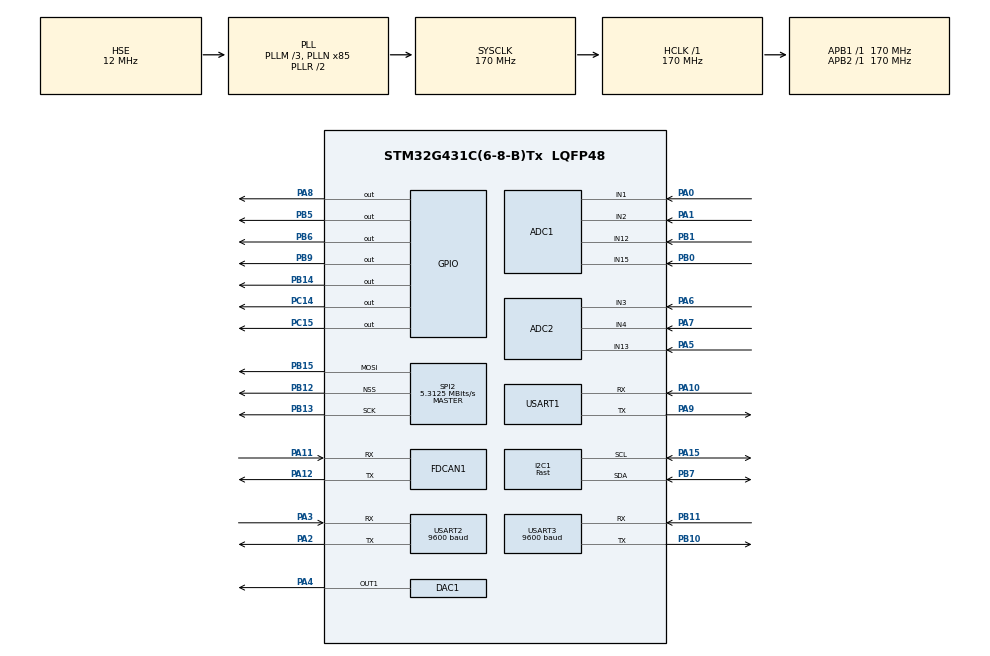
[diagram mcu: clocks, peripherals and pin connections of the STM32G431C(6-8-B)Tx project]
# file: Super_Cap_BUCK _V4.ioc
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ADC1.Channel-0\#ChannelRegularConversion=ADC_CHANNEL_1
ADC1.Channel-1\#ChannelRegularConversion=ADC_CHANNEL_2
ADC1.Channel-2\#ChannelRegularConversion=ADC_CHANNEL_12
ADC1.Channel-3\#ChannelRegularConversion=ADC_CHANNEL_15
ADC1.Channel-4\#ChannelRegularConversion=ADC_CHANNEL_TEMPSENSOR_ADC1
ADC1.Channel-5\#ChannelRegularConversion=ADC_CHANNEL_VREFINT
ADC1.ClockPrescaler=ADC_CLOCK_ASYNC_DIV6
ADC1.ContinuousConvMode=ENABLE
ADC1.DMAContinuousRequests=ENABLE
ADC1.DiscontinuousConvMode=DISABLE
ADC1.EOCSelection=ADC_EOC_SEQ_CONV
ADC1.EnableInjectedConversion=DISABLE
ADC1.GainCompensation=0
ADC1.NbrOfConversion=6
ADC1.NbrOfConversionFlag=1
ADC1.OffsetNumber-0\#ChannelRegularConversion=ADC_OFFSET_NONE
ADC1.OffsetNumber-1\#ChannelRegularConversion=ADC_OFFSET_NONE
ADC1.OffsetNumber-2\#ChannelRegularConversion=ADC_OFFSET_NONE
ADC1.OffsetNumber-3\#ChannelRegularConversion=ADC_OFFSET_NONE
ADC1.OffsetNumber-4\#ChannelRegularConversion=ADC_OFFSET_NONE
ADC1.OffsetNumber-5\#ChannelRegularConversion=ADC_OFFSET_NONE
ADC1.OversamplingMode=ENABLE
ADC1.Rank-0\#ChannelRegularConversion=1
ADC1.Rank-1\#ChannelRegularConversion=2
ADC1.Rank-2\#ChannelRegularConversion=3
ADC1.Rank-3\#ChannelRegularConversion=4
ADC1.Rank-4\#ChannelRegularConversion=5
ADC1.Rank-5\#ChannelRegularConversion=6
ADC1.Ratio=ADC_OVERSAMPLING_RATIO_256
ADC1.RightBitShift=ADC_RIGHTBITSHIFT_4
ADC1.SamplingTime-0\#ChannelRegularConversion=ADC_SAMPLETIME_6CYCLES_5
ADC1.SamplingTime-1\#ChannelRegularConversion=ADC_SAMPLETIME_6CYCLES_5
ADC1.SamplingTime-2\#ChannelRegularConversion=ADC_SAMPLETIME_6CYCLES_5
ADC1.SamplingTime-3\#ChannelRegularConversion=ADC_SAMPLETIME_6CYCLES_5
ADC1.SamplingTime-4\#ChannelRegularConversion=ADC_SAMPLETIME_247CYCLES_5
ADC1.SamplingTime-5\#ChannelRegularConversion=ADC_SAMPLETIME_24CYCLES_5
ADC1.master=1
ADC2.Channel-0\#ChannelRegularConversion=ADC_CHANNEL_13
ADC2.Channel-1\#ChannelRegularConversion=ADC_CHANNEL_3
ADC2.Channel-2\#ChannelRegularConversion=ADC_CHANNEL_4
ADC2.ClockPrescaler=ADC_CLOCK_ASYNC_DIV6
ADC2.ContinuousConvMode=ENABLE
ADC2.DMAContinuousRequests=ENABLE
ADC2.EOCSelection=ADC_EOC_SEQ_CONV
ADC2.EnableAnalogWatchDog1=false
ADC2.EnableInjectedConversion=DISABLE
ADC2.NbrOfConversion=3
ADC2.NbrOfConversionFlag=1
ADC2.OffsetNumber-0\#ChannelRegularConversion=ADC_OFFSET_NONE
ADC2.OffsetNumber-1\#ChannelRegularConversion=ADC_OFFSET_NONE
ADC2.OffsetNumber-2\#ChannelRegularConversion=ADC_OFFSET_NONE
ADC2.OversamplingMode=ENABLE
ADC2.Rank-0\#ChannelRegularConversion=1
ADC2.Rank-1\#ChannelRegularConversion=2
ADC2.Rank-2\#ChannelRegularConversion=3
ADC2.Ratio=ADC_OVERSAMPLING_RATIO_256
ADC2.RightBitShift=ADC_RIGHTBITSHIFT_4
ADC2.SamplingTime-0\#ChannelRegularConversion=ADC_SAMPLETIME_6CYCLES_5
ADC2.SamplingTime-1\#ChannelRegularConversion=ADC_SAMPLETIME_6CYCLES_5
ADC2.SamplingTime-2\#ChannelRegularConversion=ADC_SAMPLETIME_6CYCLES_5
DAC1.DAC_Trigger_OUT1-DAC_OUT1=DAC_TRIGGER_SOFTWARE
Dma.ADC1.0.Direction=DMA_PERIPH_TO_MEMORY
Dma.ADC1.0.EventEnable=DISABLE
Dma.ADC1.0.Instance=DMA1_Channel1
Dma.ADC1.0.MemDataAlignment=DMA_MDATAALIGN_WORD
Dma.ADC1.0.MemInc=DMA_MINC_ENABLE
Dma.ADC1.0.Mode=DMA_CIRCULAR
Dma.ADC1.0.PeriphDataAlignment=DMA_PDATAALIGN_WORD
Dma.ADC1.0.PeriphInc=DMA_PINC_DISABLE
Dma.ADC1.0.Polarity=HAL_DMAMUX_REQ_GEN_RISING
Dma.ADC1.0.Priority=DMA_PRIORITY_HIGH
Dma.ADC1.0.RequestNumber=1
Dma.ADC1.0.SignalID=NONE
Dma.ADC1.0.SyncEnable=DISABLE
Dma.ADC1.0.SyncPolarity=HAL_DMAMUX_SYNC_NO_EVENT
Dma.ADC1.0.SyncRequestNumber=1
Dma.ADC1.0.SyncSignalID=NONE
Dma.ADC2.1.Direction=DMA_PERIPH_TO_MEMORY
Dma.ADC2.1.EventEnable=DISABLE
Dma.ADC2.1.Instance=DMA1_Channel3
Dma.ADC2.1.MemDataAlignment=DMA_MDATAALIGN_WORD
Dma.ADC2.1.MemInc=DMA_MINC_ENABLE
Dma.ADC2.1.Mode=DMA_CIRCULAR
Dma.ADC2.1.PeriphDataAlignment=DMA_PDATAALIGN_WORD
Dma.ADC2.1.PeriphInc=DMA_PINC_DISABLE
Dma.ADC2.1.Polarity=HAL_DMAMUX_REQ_GEN_RISING
Dma.ADC2.1.Priority=DMA_PRIORITY_HIGH
Dma.ADC2.1.RequestNumber=1
Dma.ADC2.1.SignalID=NONE
Dma.ADC2.1.SyncEnable=DISABLE
Dma.ADC2.1.SyncPolarity=HAL_DMAMUX_SYNC_NO_EVENT
Dma.ADC2.1.SyncRequestNumber=1
Dma.ADC2.1.SyncSignalID=NONE
Dma.Request0=ADC1
Dma.Request1=ADC2
Dma.Request2=USART1_RX
Dma.Request3=USART2_RX
Dma.Request4=USART3_RX
Dma.USART1_RX.2.Direction=DMA_PERIPH_TO_MEMORY
Dma.USART1_RX.2.EventEnable=DISABLE
Dma.USART1_RX.2.Instance=DMA1_Channel2
Dma.USART1_RX.2.MemDataAlignment=DMA_MDATAALIGN_BYTE
Dma.USART1_RX.2.MemInc=DMA_MINC_ENABLE
Dma.USART1_RX.2.Mode=DMA_CIRCULAR
Dma.USART1_RX.2.PeriphDataAlignment=DMA_PDATAALIGN_BYTE
Dma.USART1_RX.2.PeriphInc=DMA_PINC_DISABLE
Dma.USART1_RX.2.Polarity=HAL_DMAMUX_REQ_GEN_RISING
Dma.USART1_RX.2.Priority=DMA_PRIORITY_HIGH
Dma.USART1_RX.2.RequestNumber=1
Dma.USART1_RX.2.SignalID=NONE
Dma.USART1_RX.2.SyncEnable=DISABLE
Dma.USART1_RX.2.SyncPolarity=HAL_DMAMUX_SYNC_NO_EVENT
Dma.USART1_RX.2.SyncRequestNumber=1
Dma.USART1_RX.2.SyncSignalID=NONE
Dma.USART2_RX.3.Direction=DMA_PERIPH_TO_MEMORY
Dma.USART2_RX.3.EventEnable=DISABLE
Dma.USART2_RX.3.Instance=DMA1_Channel4
Dma.USART2_RX.3.MemDataAlignment=DMA_MDATAALIGN_BYTE
Dma.USART2_RX.3.MemInc=DMA_MINC_ENABLE
Dma.USART2_RX.3.Mode=DMA_CIRCULAR
Dma.USART2_RX.3.PeriphDataAlignment=DMA_PDATAALIGN_BYTE
Dma.USART2_RX.3.PeriphInc=DMA_PINC_DISABLE
Dma.USART2_RX.3.Polarity=HAL_DMAMUX_REQ_GEN_RISING
Dma.USART2_RX.3.Priority=DMA_PRIORITY_LOW
Dma.USART2_RX.3.RequestNumber=1
Dma.USART2_RX.3.SignalID=NONE
Dma.USART2_RX.3.SyncEnable=DISABLE
Dma.USART2_RX.3.SyncPolarity=HAL_DMAMUX_SYNC_NO_EVENT
Dma.USART2_RX.3.SyncRequestNumber=1
Dma.USART2_RX.3.SyncSignalID=NONE
Dma.USART3_RX.4.Direction=DMA_PERIPH_TO_MEMORY
Dma.USART3_RX.4.EventEnable=DISABLE
Dma.USART3_RX.4.Instance=DMA1_Channel5
Dma.USART3_RX.4.MemDataAlignment=DMA_MDATAALIGN_BYTE
Dma.USART3_RX.4.MemInc=DMA_MINC_ENABLE
Dma.USART3_RX.4.Mode=DMA_CIRCULAR
Dma.USART3_RX.4.PeriphDataAlignment=DMA_PDATAALIGN_BYTE
Dma.USART3_RX.4.PeriphInc=DMA_PINC_DISABLE
Dma.USART3_RX.4.Polarity=HAL_DMAMUX_REQ_GEN_RISING
Dma.USART3_RX.4.Priority=DMA_PRIORITY_LOW
Dma.USART3_RX.4.RequestNumber=1
Dma.USART3_RX.4.SignalID=NONE
Dma.USART3_RX.4.SyncEnable=DISABLE
Dma.USART3_RX.4.SyncPolarity=HAL_DMAMUX_SYNC_NO_EVENT
Dma.USART3_RX.4.SyncRequestNumber=1
Dma.USART3_RX.4.SyncSignalID=NONE
FDCAN1.AutoRetransmission=ENABLE
FDCAN1.ClockDivider=FDCAN_CLOCK_DIV1
FDCAN1.DataPrescaler=17
FDCAN1.DataTimeSeg1=6
FDCAN1.DataTimeSeg2=3
FDCAN1.ExtFiltersNbr=8
FDCAN1.FrameFormat=FDCAN_FRAME_CLASSIC
FDCAN1.Mode=FDCAN_MODE_NORMAL
FDCAN1.NominalPrescaler=17
FDCAN1.NominalTimeSeg1=6
FDCAN1.NominalTimeSeg2=3
FDCAN1.ProtocolException=ENABLE
FDCAN1.StdFiltersNbr=8
FDCAN1.TransmitPause=ENABLE
FREERTOS.Tasks01=defaultTask,0,256,StartDefaultTask,Default,NULL,Dynamic,NULL,NULL;Ledshine,-3,128,Task_Ledshine,As weak,NULL,Dynamic,NULL,NULL;Buck_Control,3,512,Task_Buck_Control,As weak,NULL,Dynamic,NULL,NULL;Boost_Control,0,256,Task_Boost_Control,As weak,NULL,Dynamic,NULL,NULL;Main_Control,2,512,Task_Main_Control,As weak,NULL,Dynamic,NULL,NULL;Error_Detect,-1,256,Task_Error_Detect,As weak,NULL,Dynamic,NULL,NULL;BlueTooth,0,512,Task_BlueTooth,As weak,NULL,Dynamic,NULL,NULL;Communite_Task,2,256,Task_Communite,As weak,NULL,Dynamic,NULL,NULL
FREERTOS.configENABLE_FPU=0
FREERTOS.configTOTAL_HEAP_SIZE=20000
I2C1.I2C_Speed_Mode=I2C_Fast
I2C1.Timing=0x10802D9B
Mcu.Family=STM32G4
Mcu.Name=STM32G431C(6-8-B)Tx
Mcu.Package=LQFP48
NVIC.ADC1_2_IRQn=true\:5\:0\:false\:false\:true\:true\:true\:true\:true
NVIC.DMA1_Channel1_IRQn=true\:5\:0\:true\:false\:true\:true\:true\:true\:true
NVIC.DMA1_Channel2_IRQn=true\:5\:0\:false\:false\:true\:true\:false\:true\:true
NVIC.DMA1_Channel3_IRQn=true\:5\:0\:false\:false\:true\:true\:false\:true\:true
NVIC.DMA1_Channel4_IRQn=true\:5\:0\:false\:false\:true\:true\:false\:true\:true
NVIC.DMA1_Channel5_IRQn=true\:5\:0\:false\:false\:true\:true\:false\:true\:true
NVIC.FDCAN1_IT0_IRQn=true\:5\:0\:false\:false\:true\:true\:true\:true\:true
NVIC.PriorityGroup=NVIC_PRIORITYGROUP_4
NVIC.TIM1_BRK_TIM15_IRQn=true\:5\:0\:false\:false\:true\:true\:true\:true\:true
NVIC.TIM1_TRG_COM_TIM17_IRQn=true\:15\:0\:true\:false\:true\:false\:false\:true\:true
NVIC.TIM1_UP_TIM16_IRQn=true\:5\:0\:false\:false\:true\:true\:true\:true\:true
NVIC.TIM2_IRQn=true\:5\:0\:false\:false\:true\:true\:true\:true\:true
NVIC.TIM8_UP_IRQn=true\:5\:0\:false\:false\:true\:true\:true\:true\:true
NVIC.TimeBase=TIM1_TRG_COM_TIM17_IRQn
NVIC.TimeBaseIP=TIM17
NVIC.USART1_IRQn=true\:5\:0\:false\:false\:true\:true\:true\:true\:true
NVIC.USART2_IRQn=true\:5\:0\:false\:false\:true\:true\:true\:true\:true
NVIC.USART3_IRQn=true\:5\:0\:false\:false\:true\:true\:true\:true\:true
PA0.Mode=IN1-Single-Ended
PA0.Signal=ADC1_IN1
PA1.Mode=IN2-Single-Ended
PA1.Signal=ADC1_IN2
PA10.Mode=Asynchronous
PA10.Signal=USART1_RX
PA11.GPIO_FM8=SYSCFG_FASTMODEPLUS_PB8
PA11.GPIO_Speed=GPIO_SPEED_FREQ_VERY_HIGH
PA11.Mode=FDCAN_Activate
PA11.Signal=FDCAN1_RX
PA12.GPIO_FM9=SYSCFG_FASTMODEPLUS_PB9
PA12.GPIO_Speed=GPIO_SPEED_FREQ_VERY_HIGH
PA12.Mode=FDCAN_Activate
PA12.Signal=FDCAN1_TX
PA13.Mode=Serial_Wire
PA13.Signal=SYS_JTMS-SWDIO
PA14.Mode=Serial_Wire
PA14.Signal=SYS_JTCK-SWCLK
PA15.GPIO_Pu=GPIO_PULLUP
PA15.Mode=I2C
PA15.Signal=I2C1_SCL
PA2.Mode=Asynchronous
PA2.Signal=USART2_TX
PA3.Mode=Asynchronous
PA3.Signal=USART2_RX
PA4.Signal=COMP_DAC11_group
PA5.Mode=IN13-Single-Ended
PA5.Signal=ADC2_IN13
PA6.Mode=IN3-Single-Ended
PA6.Signal=ADC2_IN3
PA7.Mode=IN4-Single-Ended
PA7.Signal=ADC2_IN4
PA8.Signal=GPIO_Output
PA9.Mode=Asynchronous
PA9.Signal=USART1_TX
PB0.Mode=IN15-Single-Ended
PB0.Signal=ADC1_IN15
PB1.Mode=IN12-Single-Ended
PB1.Signal=ADC1_IN12
PB10.Mode=Asynchronous
PB10.Signal=USART3_TX
PB11.Mode=Asynchronous
PB11.Signal=USART3_RX
PB12.Mode=NSS_Signal_Hard_Output
PB12.Signal=SPI2_NSS
PB13.Mode=TX_Only_Simplex_Unidirect_Master
PB13.Signal=SPI2_SCK
PB14.Signal=GPIO_Output
PB15.Mode=TX_Only_Simplex_Unidirect_Master
PB15.Signal=SPI2_MOSI
PB5.Signal=GPIO_Output
PB6.Signal=GPIO_Output
PB7.GPIO_Pu=GPIO_PULLUP
PB7.Mode=I2C
PB7.Signal=I2C1_SDA
PB9.Signal=GPIO_Output
PC14-OSC32_IN.Signal=GPIO_Output
PC15-OSC32_OUT.Signal=GPIO_Output
PF0-OSC_IN.Mode=HSE-External-Oscillator
PF0-OSC_IN.Signal=RCC_OSC_IN
PF1-OSC_OUT.Mode=HSE-External-Oscillator
PF1-OSC_OUT.Signal=RCC_OSC_OUT
ProjectManager.HeapSize=0x1000
ProjectManager.StackSize=0x1000
ProjectManager.TargetToolchain=MDK-ARM V5.32
RCC.ADC12Freq_Value=170000000
RCC.AHBFreq_Value=170000000
RCC.APB1Freq_Value=170000000
RCC.APB1TimFreq_Value=170000000
RCC.APB2Freq_Value=170000000
RCC.APB2TimFreq_Value=170000000
RCC.CK48CLockSelection=RCC_USBCLKSOURCE_HSI48
RCC.CortexFreq_Value=170000000
RCC.EXTERNAL_CLOCK_VALUE=12288000
RCC.HCLKFreq_Value=170000000
RCC.HSE_VALUE=12000000
RCC.HSI48_VALUE=48000000
RCC.HSI_VALUE=16000000
RCC.LSE_VALUE=32768
RCC.PLLM=RCC_PLLM_DIV3
RCC.PLLN=85
RCC.PLLQ=RCC_PLLQ_DIV4
RCC.PLLSourceVirtual=RCC_PLLSOURCE_HSE
RCC.SYSCLKFreq_VALUE=170000000
RCC.SYSCLKSource=RCC_SYSCLKSOURCE_PLLCLK
RCC.USBFreq_Value=48000000
RCC.VCOOutputFreq_Value=340000000
SH.COMP_DAC11_group.0=DAC1_OUT1,DAC_OUT1
SPI2.BaudRatePrescaler=SPI_BAUDRATEPRESCALER_32
SPI2.CalculateBaudRate=5.3125 MBits/s
SPI2.DataSize=SPI_DATASIZE_10BIT
SPI2.Direction=SPI_DIRECTION_2LINES
SPI2.Mode=SPI_MODE_MASTER
SPI2.VirtualNSS=VM_NSSHARD
SPI2.VirtualType=VM_MASTER
TIM1.PeriodNoDither=1000-1
TIM1.Prescaler=170-1
TIM15.PeriodNoDither=100-1
TIM15.Prescaler=170-1
TIM16.PeriodNoDither=100-1
TIM16.Prescaler=170-1
TIM2.PeriodNoDither=200-1
TIM2.Prescaler=170-1
TIM2.TIM_MasterOutputTrigger=TIM_TRGO_UPDATE
TIM2.TIM_MasterSlaveMode=TIM_MASTERSLAVEMODE_ENABLE
TIM8.PeriodNoDither=10000-1
TIM8.Prescaler=170-1
USART1.VirtualMode-Asynchronous=VM_ASYNC
USART2.BaudRate=9600
USART2.VirtualMode-Asynchronous=VM_ASYNC
USART3.BaudRate=9600
USART3.VirtualMode-Asynchronous=VM_ASYNC
VP_ADC1_TempSens_Input.Mode=IN-TempSens
VP_ADC1_Vref_Input.Mode=IN-Vrefint
VP_FREERTOS_VS_CMSIS_V1.Mode=CMSIS_V1
VP_IWDG_VS_IWDG.Mode=IWDG_Activate
VP_SYS_VS_DBSignals.Mode=DisableDeadBatterySignals
VP_SYS_VS_tim17.Mode=TIM17
VP_SYS_V_VREFBUF.Mode=ExternalMode
VP_TIM15_VS_ClockSourceINT.Mode=Internal
VP_TIM16_VS_ClockSourceINT.Mode=Enable_Timer
VP_TIM1_VS_ClockSourceINT.Mode=Internal
VP_TIM2_VS_ClockSourceINT.Mode=Internal
VP_TIM8_VS_ClockSourceINT.Mode=Internal
board=custom

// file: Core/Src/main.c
/* USER CODE BEGIN Header */
/**
  ******************************************************************************
  * @file           : main.c
  * @brief          : Main program body
  ******************************************************************************
  * @attention
  *
  * <h2><center>&copy; Copyright (c) 2022 STMicroelectronics.
  * All rights reserved.</center></h2>
  *
  * This software component is licensed by ST under Ultimate Liberty license
  * SLA0044, the "License"; You may not use this file except in compliance with
  * the License. You may obtain a copy of the License at:
  *                             www.st.com/SLA0044
  *
  ******************************************************************************
  */
/* USER CODE END Header */
#include "main.h"
#include "cmsis_os.h"
#include "adc.h"
#include "dac.h"
#include "dma.h"
#include "fdcan.h"
#include "i2c.h"
#include "iwdg.h"
#include "spi.h"
#include "tim.h"
#include "usart.h"
#include "gpio.h"

/* USER CODE BEGIN Includes */
#include"dac_util.h"
#include"adc_util.h"
#include "AD8402_Periph.h"
#include "Cap_Main_Control.h"
#include "Cap_Buck_Control.h"
#include "Cap_Faction.h"
/* USER CODE END Includes */

void SystemClock_Config(void);
void MX_FREERTOS_Init(void);

int main(void)
{

  /* MCU Configuration--------------------------------------------------------*/

  /* Reset of all peripherals, Initializes the Flash interface and the Systick. */
  HAL_Init();

  /* Configure the system clock */
  SystemClock_Config();

  /* USER CODE BEGIN SysInit */
  MX_DMA_Init();
  /* USER CODE END SysInit */

  /* Initialize all configured peripherals */
  MX_GPIO_Init();
  MX_DMA_Init();
  MX_ADC2_Init();
  MX_FDCAN1_Init();
  MX_I2C1_Init();
  MX_USART1_UART_Init();
  MX_USART2_UART_Init();
  MX_USART3_UART_Init();
  MX_ADC1_Init();
  MX_TIM16_Init();
  MX_TIM15_Init();
  MX_TIM1_Init();
  MX_SPI2_Init();
  MX_DAC1_Init();
  MX_TIM8_Init();
  MX_TIM2_Init();
  MX_IWDG_Init();
  /* USER CODE BEGIN 2 */
	Cap_Control_Change_Cap_PowerPath();
  HAL_TIM_Base_Start_IT(&htim8);
	__HAL_IWDG_START(&hiwdg);
	HAL_IWDG_Refresh(&hiwdg);
  HAL_ADCEx_Calibration_Start(&hadc1,ADC_SINGLE_ENDED);
  /* USER CODE END 2 */

  /* Call init function for freertos objects (in freertos.c) */
  MX_FREERTOS_Init();

  /* Start scheduler */
  osKernelStart();

  /* We should never get here as control is now taken by the scheduler */
  /* Infinite loop */
  while (1)
  {

  }
}

void SystemClock_Config(void)
{
  RCC_OscInitTypeDef RCC_OscInitStruct = {0};
  RCC_ClkInitTypeDef RCC_ClkInitStruct = {0};

  /** Configure the main internal regulator output voltage
  */
  HAL_PWREx_ControlVoltageScaling(PWR_REGULATOR_VOLTAGE_SCALE1_BOOST);

  /** Initializes the RCC Oscillators according to the specified parameters
  * in the RCC_OscInitTypeDef structure.
  */
  RCC_OscInitStruct.OscillatorType = RCC_OSCILLATORTYPE_LSI|RCC_OSCILLATORTYPE_HSE;
  RCC_OscInitStruct.HSEState = RCC_HSE_ON;
  RCC_OscInitStruct.LSIState = RCC_LSI_ON;
  RCC_OscInitStruct.PLL.PLLState = RCC_PLL_ON;
  RCC_OscInitStruct.PLL.PLLSource = RCC_PLLSOURCE_HSE;
  RCC_OscInitStruct.PLL.PLLM = RCC_PLLM_DIV3;
  RCC_OscInitStruct.PLL.PLLN = 85;
  RCC_OscInitStruct.PLL.PLLP = RCC_PLLP_DIV2;
  RCC_OscInitStruct.PLL.PLLQ = RCC_PLLQ_DIV4;
  RCC_OscInitStruct.PLL.PLLR = RCC_PLLR_DIV2;
  if (HAL_RCC_OscConfig(&RCC_OscInitStruct) != HAL_OK)
  {
    Error_Handler();
  }

  /** Initializes the CPU, AHB and APB buses clocks
  */
  RCC_ClkInitStruct.ClockType = RCC_CLOCKTYPE_HCLK|RCC_CLOCKTYPE_SYSCLK
                              |RCC_CLOCKTYPE_PCLK1|RCC_CLOCKTYPE_PCLK2;
  RCC_ClkInitStruct.SYSCLKSource = RCC_SYSCLKSOURCE_PLLCLK;
  RCC_ClkInitStruct.AHBCLKDivider = RCC_SYSCLK_DIV1;
  RCC_ClkInitStruct.APB1CLKDivider = RCC_HCLK_DIV1;
  RCC_ClkInitStruct.APB2CLKDivider = RCC_HCLK_DIV1;

  if (HAL_RCC_ClockConfig(&RCC_ClkInitStruct, FLASH_LATENCY_4) != HAL_OK)
  {
    Error_Handler();
  }
}

void HAL_TIM_PeriodElapsedCallback(TIM_HandleTypeDef *htim)
{
  if (htim->Instance == TIM17) {
    HAL_IncTick();
  }
  /* USER CODE BEGIN Callback 1 */
	else if (htim == &htim15)
  {
  }
	else if(htim == &htim16)
	{

	}
	else if(htim == &htim8) {
		if(IWDG_State.Task_Buck_Control_Down == 1 && IWDG_State.Task_Communite_Down == 1 && IWDG_State.Task_Main_Control_Down == 1)
		{
		HAL_IWDG_Refresh(&hiwdg);
		IWDG_State.Task_Buck_Control_Down = 0;
		IWDG_State.Task_Communite_Down = 0;
		IWDG_State.Task_Main_Control_Down = 0;
		}
	}
  /* USER CODE END Callback 1 */
}

void Error_Handler(void)
{
  __disable_irq();
  while (1)
  {
  }
}

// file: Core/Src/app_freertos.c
/* USER CODE BEGIN Header */
/**
  ******************************************************************************
  * File Name          : app_freertos.c
  * Description        : Code for freertos applications
  ******************************************************************************
  * @attention
  *
  * <h2><center>&copy; Copyright (c) 2022 STMicroelectronics.
  * All rights reserved.</center></h2>
  *
  * This software component is licensed by ST under Ultimate Liberty license
  * SLA0044, the "License"; You may not use this file except in compliance with
  * the License. You may obtain a copy of the License at:
  *                             www.st.com/SLA0044
  *
  ******************************************************************************
  */
/* USER CODE END Header */

#include "FreeRTOS.h"
#include "task.h"
#include "main.h"
#include "cmsis_os.h"

osThreadId defaultTaskHandle;
osThreadId LedshineHandle;
osThreadId Buck_ControlHandle;
osThreadId Boost_ControlHandle;
osThreadId Main_ControlHandle;
osThreadId Error_DetectHandle;
osThreadId BlueToothHandle;
osThreadId Communite_TaskHandle;

void StartDefaultTask(void const * argument);
void Task_Ledshine(void const * argument);
void Task_Buck_Control(void const * argument);
void Task_Boost_Control(void const * argument);
void Task_Main_Control(void const * argument);
void Task_Error_Detect(void const * argument);
void Task_BlueTooth(void const * argument);
void Task_Communite(void const * argument);

void MX_FREERTOS_Init(void); /* (MISRA C 2004 rule 8.1) */

void MX_FREERTOS_Init(void) {

  /* Create the thread(s) */
  /* definition and creation of defaultTask */
  osThreadDef(defaultTask, StartDefaultTask, osPriorityNormal, 0, 256);
  defaultTaskHandle = osThreadCreate(osThread(defaultTask), NULL);

  /* definition and creation of Ledshine */
  osThreadDef(Ledshine, Task_Ledshine, osPriorityIdle, 0, 128);
  LedshineHandle = osThreadCreate(osThread(Ledshine), NULL);

  /* definition and creation of Buck_Control */
  osThreadDef(Buck_Control, Task_Buck_Control, osPriorityRealtime, 0, 512);
  Buck_ControlHandle = osThreadCreate(osThread(Buck_Control), NULL);

  /* definition and creation of Boost_Control */
  osThreadDef(Boost_Control, Task_Boost_Control, osPriorityNormal, 0, 256);
  Boost_ControlHandle = osThreadCreate(osThread(Boost_Control), NULL);

  /* definition and creation of Main_Control */
  osThreadDef(Main_Control, Task_Main_Control, osPriorityHigh, 0, 512);
  Main_ControlHandle = osThreadCreate(osThread(Main_Control), NULL);

  /* definition and creation of Error_Detect */
  osThreadDef(Error_Detect, Task_Error_Detect, osPriorityBelowNormal, 0, 256);
  Error_DetectHandle = osThreadCreate(osThread(Error_Detect), NULL);

  /* definition and creation of BlueTooth */
  osThreadDef(BlueTooth, Task_BlueTooth, osPriorityNormal, 0, 512);
  BlueToothHandle = osThreadCreate(osThread(BlueTooth), NULL);

  /* definition and creation of Communite_Task */
  osThreadDef(Communite_Task, Task_Communite, osPriorityHigh, 0, 256);
  Communite_TaskHandle = osThreadCreate(osThread(Communite_Task), NULL);

}

void StartDefaultTask(void const * argument)
{
  for(;;)
  {
    osDelay(1);
  }
}

__weak void Task_Ledshine(void const * argument)
{
  for(;;)
  {
    osDelay(1);
  }
}

__weak void Task_Buck_Control(void const * argument)
{
  for(;;)
  {
    osDelay(1);
  }
}

__weak void Task_Boost_Control(void const * argument)
{
  for(;;)
  {
    osDelay(1);
  }
}

__weak void Task_Main_Control(void const * argument)
{
  for(;;)
  {
    osDelay(1);
  }
}

__weak void Task_Error_Detect(void const * argument)
{
  for(;;)
  {
    osDelay(1);
  }
}

__weak void Task_BlueTooth(void const * argument)
{
  for(;;)
  {
    osDelay(1);
  }
}

__weak void Task_Communite(void const * argument)
{
  for(;;)
  {
    osDelay(1);
  }
}
